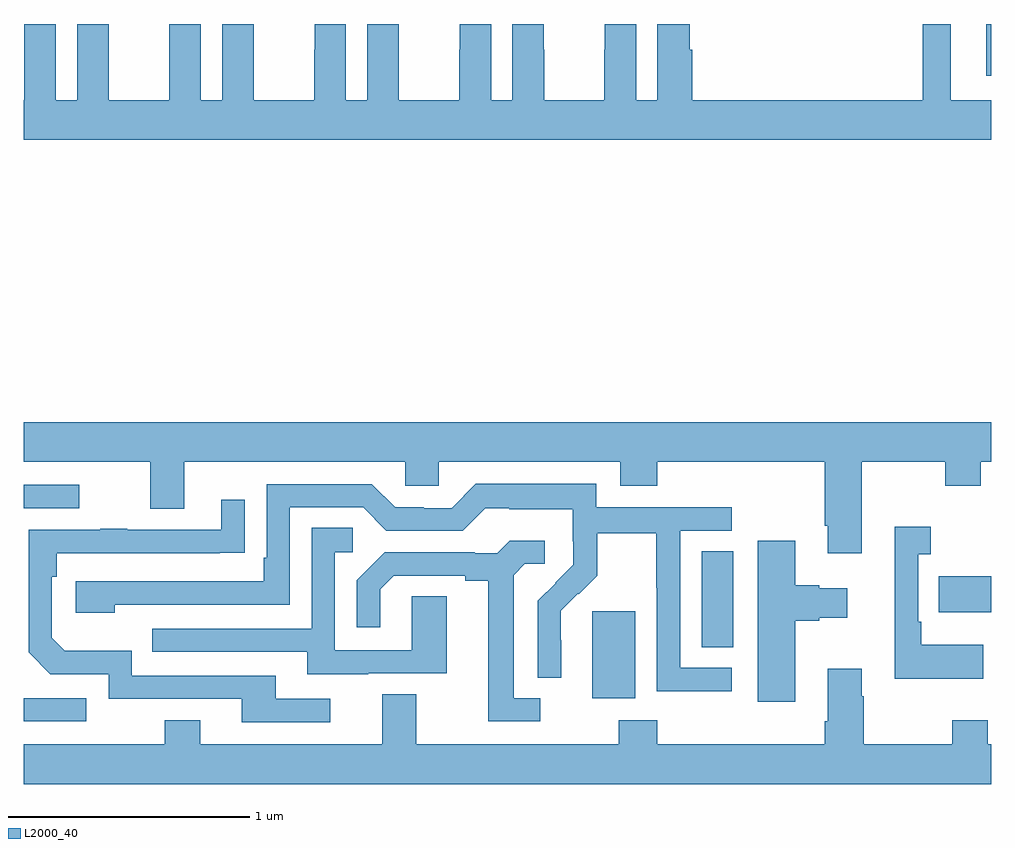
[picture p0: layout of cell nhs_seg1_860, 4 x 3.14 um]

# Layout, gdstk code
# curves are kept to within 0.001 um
import gdstk
lib = gdstk.Library(unit=1e-6, precision=1e-09)
def R(c, l, rs):  # rectangles x0, y0, x1, y1
    for r in rs: c.add(gdstk.rectangle(r[:2], r[2:], *l))
def P(c, l, *ps):  # polygons
    for p in ps: c.add(gdstk.Polygon(p, *l))
L2000_40 = (2000, 40)

nhs_seg1_860 = lib.new_cell('nhs_seg1_860')
R(nhs_seg1_860, L2000_40, [(157,561.315,157.258,561.411), (159.35,561.41,159.529,561.771), (159.803,561.622,159.934,562.019), (160.783,561.767,161,561.915), (157,562.197,157.228,562.293), (160.979,563.984,161,564.199)])
P(nhs_seg1_860, L2000_40, [(159.402,564.199),(159.402,564.092),(159.401,564.092),(159.401,563.884),(159.151,563.884),(159.151,564.092),(159.15,564.092),(159.15,564.199),(159.02,564.199),(159.02,563.884),(158.932,563.884),(158.932,564.199),(158.802,564.199),(158.802,564.092),(158.801,564.092),(158.801,563.884),(158.551,563.884),(158.551,564.092),(158.55,564.092),(158.55,564.199),(158.42,564.199),(158.42,563.884),(158.332,563.884),(158.332,564.199),(158.202,564.199),(158.202,564.092),(158.201,564.092),(158.201,563.884),(157.951,563.884),(157.951,564.092),(157.95,564.092),(157.95,564.199),(157.82,564.199),(157.82,563.884),(157.732,563.884),(157.732,564.199),(157.602,564.199),(157.602,564.092),(157.601,564.092),(157.601,563.884),(157.351,563.884),(157.351,564.092),(157.35,564.092),(157.35,564.199),(157.22,564.199),(157.22,563.884),(157.132,563.884),(157.132,564.199),(157.002,564.199),(157.002,564.092),(157.001,564.092),(157.001,563.884),(157,563.884),(157,563.72),(161,563.72),(161,563.884),(160.834,563.884),(160.834,564.199),(160.717,564.199),(160.717,563.884),(159.764,563.884),(159.764,564.092),(159.754,564.092),(159.754,564.199),(159.62,564.199),(159.62,563.884),(159.532,563.884),(159.532,564.199)],
  [(160.465,562.388),(160.81,562.388),(160.81,562.289),(160.957,562.289),(160.957,562.388),(161,562.388),(161,562.552),(157,562.552),(157,562.388),(157.523,562.388),(157.523,562.194),(157.663,562.194),(157.663,562.388),(158.577,562.388),(158.577,562.29),(158.715,562.29),(158.715,562.388),(159.467,562.388),(159.467,562.289),(159.62,562.289),(159.62,562.388),(160.313,562.388),(160.313,562.123),(160.325,562.123),(160.325,562.011),(160.465,562.011)],
  [(159.928,561.537),(159.714,561.537),(159.714,562.104),(159.928,562.104),(159.928,562.2),(159.366,562.2),(159.366,562.297),(158.869,562.297),(158.769,562.197),(158.654,562.197),(158.654,562.2),(158.535,562.2),(158.439,562.296),(158.004,562.296),(158.004,561.991),(157.991,561.991),(157.991,561.894),(157.215,561.894),(157.215,561.764),(157.376,561.764),(157.376,561.798),(158.1,561.798),(158.1,562.2),(158.403,562.2),(158.499,562.104),(158.814,562.104),(158.907,562.197),(159.007,562.197),(159.007,562.193),(159.27,562.193),(159.27,562.059),(159.272,562.059),(159.272,561.962),(159.126,561.814),(159.126,561.496),(159.222,561.496),(159.221,561.773),(159.291,561.843),(159.294,561.84),(159.371,561.917),(159.371,562.092),(159.616,562.092),(159.616,561.868),(159.618,561.868),(159.618,561.439),(159.928,561.439)],
  [(158.266,561.408),(158.041,561.408),(158.041,561.504),(157.446,561.504),(157.446,561.607),(157.169,561.607),(157.116,561.66),(157.116,561.914),(157.136,561.914),(157.136,562.011),(157.913,562.012),(157.913,562.231),(157.817,562.231),(157.817,562.107),(157.427,562.107),(157.427,562.112),(157.315,562.112),(157.315,562.107),(157.02,562.107),(157.02,561.6),(157.11,561.51),(157.35,561.51),(157.35,561.408),(157.901,561.408),(157.901,561.312),(158.266,561.312)],
  [(160.967,561.631),(160.711,561.631),(160.711,561.727),(160.698,561.727),(160.698,562.007),(160.75,562.007),(160.75,562.12),(160.601,562.12),(160.601,561.491),(160.967,561.491)],
  [(158.425,561.513),(158.749,561.513),(158.749,561.833),(158.604,561.833),(158.604,561.609),(158.286,561.609),(158.286,562.014),(158.359,562.014),(158.359,562.115),(158.19,562.115),(158.19,561.699),(157.531,561.699),(157.531,561.603),(158.171,561.603),(158.171,561.509),(158.425,561.509)],
  [(160.189,561.731),(160.289,561.731),(160.289,561.743),(160.405,561.743),(160.405,561.865),(160.289,561.865),(160.289,561.878),(160.189,561.878),(160.189,562.063),(160.034,562.063),(160.034,561.396),(160.189,561.396)],
  [(159.136,561.411),(159.025,561.411),(159.025,561.919),(159.072,561.966),(159.154,561.966),(159.154,562.063),(159.01,562.063),(158.958,562.011),(158.864,562.011),(158.864,562.014),(158.492,562.014),(158.376,561.898),(158.376,561.705),(158.473,561.705),(158.473,561.861),(158.53,561.918),(158.825,561.918),(158.825,561.896),(158.921,561.896),(158.921,561.315),(159.136,561.315)],
  [(161,561.22),(160.986,561.22),(160.986,561.319),(160.84,561.319),(160.84,561.22),(160.473,561.22),(160.473,561.419),(160.465,561.419),(160.465,561.532),(160.325,561.532),(160.325,561.316),(160.313,561.316),(160.313,561.22),(159.62,561.22),(159.62,561.319),(159.46,561.319),(159.46,561.22),(158.623,561.22),(158.623,561.428),(158.483,561.428),(158.483,561.22),(157.729,561.22),(157.729,561.319),(157.582,561.319),(157.582,561.22),(157,561.22),(157,561.056),(161,561.056)])

lib.write_gds('nhs_seg1_860.gds')
